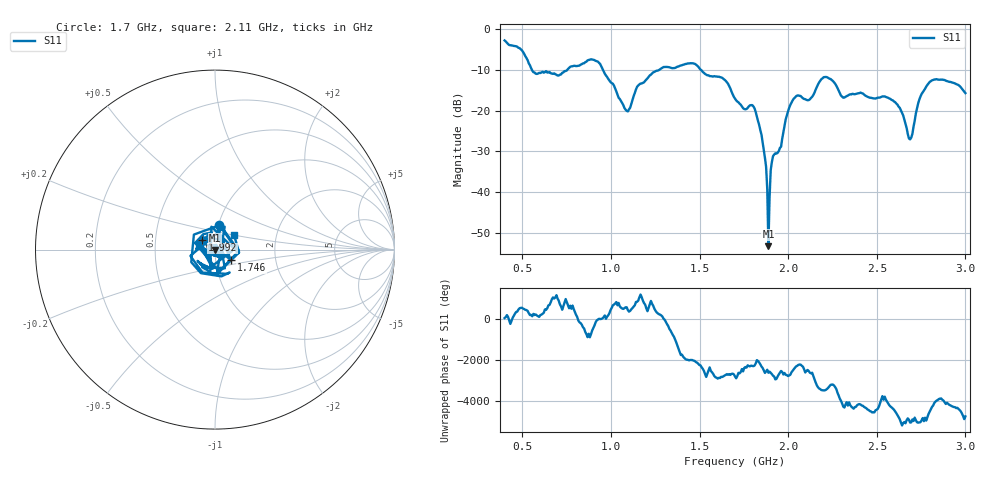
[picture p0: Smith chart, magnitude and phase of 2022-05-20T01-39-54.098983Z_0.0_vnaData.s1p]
!Created with skrf (http://scikit-rf.org).
# Hz S RI R 50.0
!freq ReS11 ImS11
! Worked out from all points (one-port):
!   401 points, 400 MHz to 3 GHz, reference 50 ohm
!   lowest |S11| = -53.3 dB at 1.889 GHz (marker M1), VSWR 1.00, Z = 50 - j0.212 ohm
!   |S11| at or under -10 dB: 554.3 MHz to 753.5 MHz (199.2 MHz wide, 30.5 % of centre); 954.6 MHz to 1.272 GHz (317.5 MHz wide, 28.5 % of centre); 1.508 GHz to end of sweep
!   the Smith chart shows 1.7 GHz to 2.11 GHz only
!   S11 on the Smith chart (normalised r, x): 1.7 GHz: 1.01, +0.28; 1.746 GHz: 1.19, -0.14; 1.992 GHz: 0.86, +0.09; 2.11 GHz: 1.22, +0.20
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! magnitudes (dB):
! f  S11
! 400 MHz  -2.8
! 569 MHz  -10.6
! 725 MHz  -10.7
! 913.5 MHz  -7.8
! 1.05 GHz  -17.2
! 1.095 GHz  -20.2
! 1.226 GHz  -11.2
! 1.375 GHz  -9.2
! 1.622 GHz  -11.8
! 1.7 GHz  -17.1
! 1.746 GHz  -19.4
! 1.823 GHz  -21.5
! 1.863 GHz  -29.6
! 1.875 GHz  -33.9
! 1.889 GHz  -53.3
! 1.901 GHz  -34.7
! 1.915 GHz  -31.2
! 1.992 GHz  -21.2
! 2.025 GHz  -17.5
! 2.11 GHz  -17.5
! 2.207 GHz  -11.8
! 2.35 GHz  -16.0
! 2.591 GHz  -17.5
! 2.675 GHz  -25.8
! 2.695 GHz  -26.6
! 2.747 GHz  -16.6
! 2.805 GHz  -12.8
! 3 GHz  -15.7
